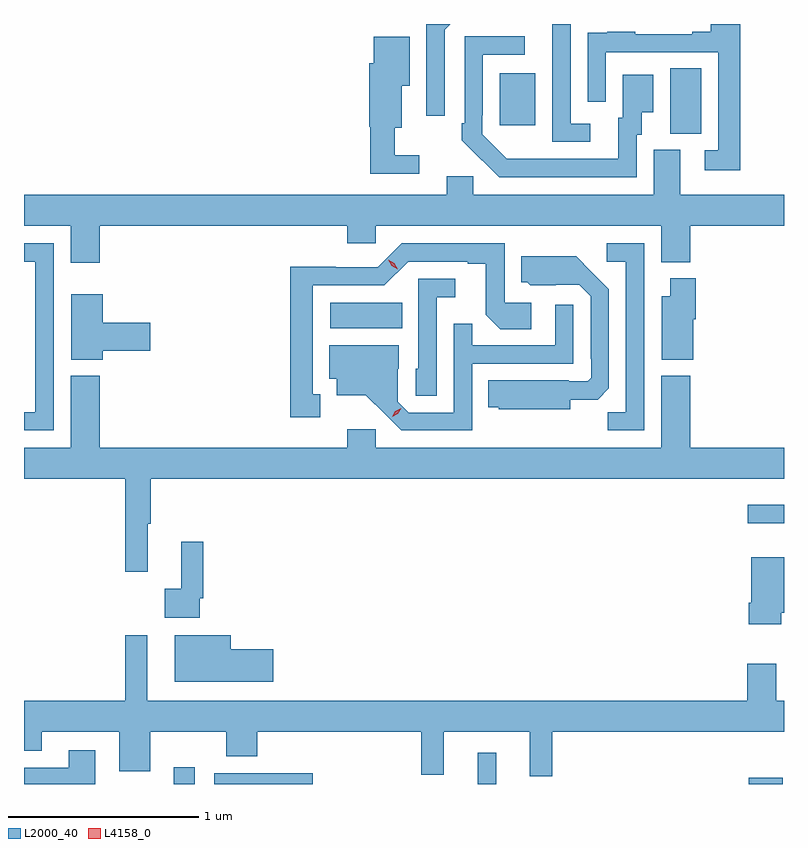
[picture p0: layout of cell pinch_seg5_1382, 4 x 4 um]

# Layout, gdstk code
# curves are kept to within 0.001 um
import gdstk
lib = gdstk.Library(unit=1e-6, precision=1e-09)
def R(c, l, rs):  # rectangles x0, y0, x1, y1
    for r in rs: c.add(gdstk.rectangle(r[:2], r[2:], *l))
def P(c, l, *ps):  # polygons
    for p in ps: c.add(gdstk.Polygon(p, *l))
L2000_40 = (2000, 40)
L4158_0 = (4158, 0)

pinch_seg5_1382 = lib.new_cell('pinch_seg5_1382')
R(pinch_seg5_1382, L2000_40, [(146.544,901.774,146.653,901.861), (146.757,901.774,147.274,901.83), (148.143,901.774,148.24,901.939), (149.57,901.774,149.748,901.807), (149.565,903.147,149.755,903.244), (147.366,904.172,147.746,904.306), (149.156,905.197,149.32,905.54), (148.259,905.241,148.447,905.515)])
P(pinch_seg5_1382, L2000_40, [(148.735,905.25),(148.632,905.25),(148.632,905.774),(148.535,905.774),(148.535,905.611),(148.536,905.611),(148.536,905.154),(148.735,905.154)],
  [(147.969,905.745),(147.998,905.774),(147.873,905.774),(147.873,905.292),(147.969,905.292)],
  [(149.525,905.774),(149.369,905.774),(149.369,905.734),(149.273,905.734),(149.273,905.721),(148.973,905.721),(148.973,905.734),(148.825,905.734),(148.825,905.727),(148.723,905.727),(148.723,905.618),(148.722,905.618),(148.722,905.364),(148.818,905.364),(148.818,905.625),(149.409,905.625),(149.409,905.109),(149.337,905.109),(149.337,905.004),(149.525,905.004)],
  [(148.98,905.19),(149.005,905.19),(149.005,905.309),(149.068,905.309),(149.068,905.506),(148.907,905.506),(148.907,905.28),(148.883,905.28),(148.883,905.064),(148.296,905.065),(148.167,905.193),(148.167,905.293),(148.17,905.293),(148.17,905.613),(148.39,905.613),(148.39,905.709),(148.074,905.709),(148.074,905.251),(148.059,905.251),(148.059,905.163),(148.256,904.968),(148.98,904.968)],
  [(147.835,905.083),(147.706,905.083),(147.706,905.228),(147.742,905.228),(147.742,905.45),(147.784,905.45),(147.784,905.707),(147.596,905.707),(147.596,905.568),(147.572,905.568),(147.572,905.232),(147.577,905.232),(147.577,904.986),(147.835,904.986)],
  [(146.153,904.712),(147.455,904.712),(147.455,904.619),(147.606,904.619),(147.606,904.712),(149.108,904.712),(149.108,904.52),(149.261,904.52),(149.261,904.712),(149.755,904.712),(149.755,904.876),(149.209,904.876),(149.209,905.112),(149.069,905.112),(149.069,904.876),(148.119,904.876),(148.119,904.974),(147.98,904.974),(147.98,904.876),(145.755,904.876),(145.755,904.712),(146,904.712),(146,904.518),(146.153,904.518)],
  [(147.313,903.825),(147.274,903.825),(147.274,904.398),(147.651,904.398),(147.777,904.524),(148.091,904.524),(148.091,904.512),(148.185,904.512),(148.185,904.244),(148.261,904.168),(148.426,904.168),(148.426,904.308),(148.284,904.308),(148.284,904.62),(147.744,904.62),(147.618,904.494),(147.396,904.494),(147.396,904.496),(147.156,904.496),(147.156,903.705),(147.313,903.705)],
  [(149.019,904.62),(148.821,904.62),(148.821,904.524),(148.923,904.524),(148.923,903.731),(148.828,903.731),(148.828,903.636),(149.019,903.636)],
  [(145.911,904.62),(145.755,904.62),(145.755,904.524),(145.815,904.524),(145.815,903.731),(145.755,903.731),(145.755,903.636),(145.911,903.636)],
  [(148.63,903.797),(148.774,903.797),(148.833,903.856),(148.833,904.378),(148.661,904.552),(148.373,904.552),(148.373,904.416),(148.404,904.416),(148.42,904.4),(148.677,904.401),(148.737,904.341),(148.737,904.012),(148.74,904.012),(148.74,903.912),(148.722,903.894),(148.622,903.894),(148.622,903.898),(148.198,903.898),(148.198,903.758),(148.254,903.758),(148.254,903.746),(148.63,903.746)],
  [(149.278,904.221),(149.291,904.221),(149.291,904.435),(149.156,904.435),(149.156,904.342),(149.111,904.342),(149.111,904.007),(149.278,904.007)],
  [(147.927,904.337),(148.024,904.337),(148.024,904.434),(147.831,904.434),(147.831,903.96),(147.816,903.96),(147.816,903.817),(147.927,903.817)],
  [(146.17,904.055),(146.419,904.055),(146.419,904.202),(146.17,904.202),(146.17,904.351),(146.003,904.351),(146.003,904.007),(146.17,904.007)],
  [(148.113,903.987),(148.647,903.987),(148.647,904.297),(148.551,904.297),(148.551,904.083),(148.115,904.083),(148.115,904.196),(148.017,904.196),(148.017,903.729),(147.78,903.729),(147.723,903.786),(147.723,903.96),(147.727,903.96),(147.727,904.084),(147.362,904.084),(147.362,903.908),(147.401,903.908),(147.401,903.821),(147.553,903.821),(147.74,903.636),(148.113,903.636)],
  [(146.405,903.144),(146.423,903.144),(146.423,903.38),(149.755,903.38),(149.755,903.544),(149.261,903.544),(149.261,903.922),(149.108,903.922),(149.108,903.544),(147.606,903.544),(147.606,903.64),(147.455,903.64),(147.455,903.544),(146.153,903.544),(146.153,903.922),(146,903.922),(146,903.544),(145.755,903.544),(145.755,903.38),(146.287,903.38),(146.287,902.892),(146.405,902.892)],
  [(146.679,902.752),(146.699,902.752),(146.699,903.049),(146.582,903.049),(146.582,902.801),(146.496,902.801),(146.496,902.648),(146.679,902.648)],
  [(149.74,902.676),(149.755,902.676),(149.755,902.968),(149.582,902.968),(149.582,902.728),(149.57,902.728),(149.57,902.616),(149.74,902.616)],
  [(147.067,902.483),(146.842,902.483),(146.842,902.557),(146.549,902.557),(146.549,902.312),(147.067,902.312)],
  [(148.535,902.048),(149.755,902.048),(149.755,902.212),(149.713,902.212),(149.713,902.407),(149.561,902.407),(149.561,902.212),(146.404,902.212),(146.404,902.557),(146.287,902.557),(146.287,902.212),(145.755,902.212),(145.755,901.949),(145.849,901.949),(145.849,902.048),(146.255,902.048),(146.255,901.842),(146.419,901.842),(146.419,902.048),(146.819,902.048),(146.819,901.92),(146.983,901.92),(146.983,902.048),(147.847,902.048),(147.847,901.823),(147.965,901.823),(147.965,902.048),(148.418,902.048),(148.418,901.815),(148.535,901.815)],
  [(146.131,901.951),(145.991,901.951),(145.991,901.86),(145.755,901.86),(145.755,901.774),(146.131,901.774)])
P(pinch_seg5_1382, L4158_0, [(147.693,903.707),(147.693,903.707),(147.71,903.736),(147.74,903.752),(147.741,903.752),(147.741,903.752),(147.723,903.722),(147.693,903.707)],
  [(147.721,904.482),(147.69,904.501),(147.672,904.533),(147.672,904.533),(147.672,904.533),(147.704,904.515),(147.722,904.482),(147.722,904.482)])

lib.write_gds('pinch_seg5_1382.gds')
